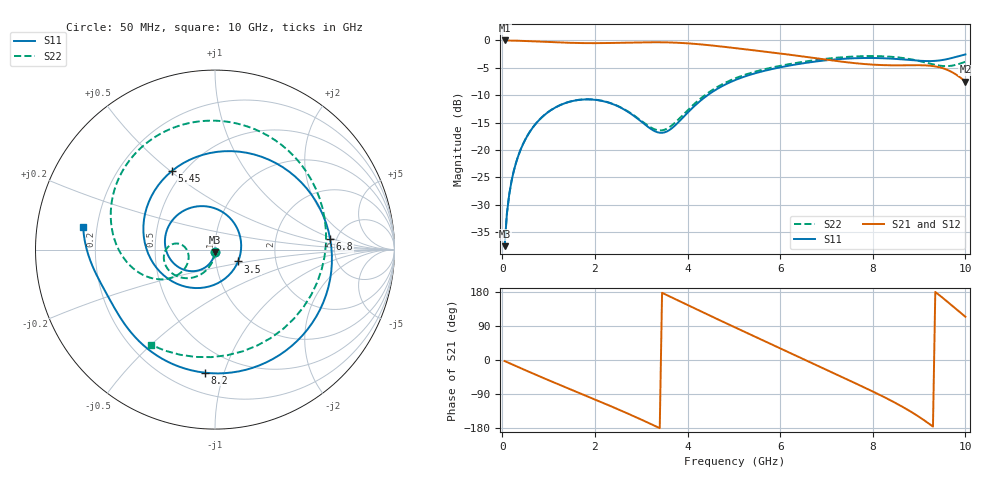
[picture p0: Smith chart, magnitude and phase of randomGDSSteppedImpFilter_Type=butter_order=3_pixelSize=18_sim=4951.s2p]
! freq	dB(S11)	phase(S11)	dB(S12)	phase(S12)
!  dB(S21)	phase(S21)	dB(S22)	phase(S22)
!S-par simulation data
#  GHz  S  DB  R 50
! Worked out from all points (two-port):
!   200 points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, 50 MHz to 10 GHz, reference 50 ohm
!   highest |S21| = -0.01 dB at 50 MHz (marker M1); lowest = -7.5 dB at 10 GHz (marker M2)
!   |S21| within 3 dB of the highest: start of sweep to 6.559 GHz
!   lowest |S11| = -37.6 dB at 50 MHz (marker M3), VSWR 1.03, Z = 49.9 - j1.32 ohm
!   |S11| at or under -10 dB: start of sweep to 4.434 GHz
!   |S22| runs from -37.6 to -2.9 dB; largest |S21 - S12| = 0
!   S11 on the Smith chart (normalised r, x): 50 MHz: 1.00, -0.03; 3.5 GHz: 1.28, -0.17; 5.45 GHz: 0.43, +0.51; 6.8 GHz: 4.44, +0.89; 8.2 GHz: 0.33, -0.86; 10 GHz: 0.15, +0.08
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0.05  -37.57 -92.6  -0.01 -2.8  -0.01 -2.8  -37.57 -91.7
0.1  -31.59 -96.2  -0.01 -5.5  -0.01 -5.5  -31.57 -94.4
0.2  -25.66 -102.9  -0.03 -10.9  -0.03 -10.9  -25.65 -99.3
0.5  -18.05 -122.0  -0.10 -27.0  -0.10 -27.0  -18.03 -113.0
1.15  -12.23 -162.6  -0.34 -61.1  -0.34 -61.1  -12.21 -140.7
1.75  -10.79 159.2  -0.49 -91.5  -0.49 -91.5  -10.77 -163.4
2.55  -12.24 100.3  -0.43 -132.8  -0.43 -132.8  -12.19 173.7
3.4  -16.86 -8.7  -0.33 -179.8  -0.33 -179.8  -16.44 -170.6
3.5  -16.80 -27.1  -0.35 174.4  -0.35 174.4  -16.32 -164.1
4.25  -11.22 -133.4  -0.70 130.7  -0.70 130.7  -10.84 -147.0
5.05  -7.17 152.7  -1.42 84.7  -1.42 84.7  -6.86 -164.9
5.45  -6.02 118.5  -1.82 62.0  -1.82 62.0  -5.73 -175.9
6.05  -4.83 67.5  -2.44 27.9  -2.44 27.9  -4.56 167.2
6.7  -3.93 13.3  -3.17 -9.1  -3.17 -9.1  -3.66 147.7
6.8  -3.82 5.2  -3.29 -14.7  -3.29 -14.7  -3.55 144.5
7.55  -3.27 -51.6  -4.10 -57.2  -4.10 -57.2  -2.96 117.2
8.2  -3.25 -94.9  -4.50 -95.1  -4.50 -95.1  -2.89 86.6
8.35  -3.30 -104.1  -4.54 -104.4  -4.54 -104.4  -2.96 77.9
8.8  -3.57 -129.8  -4.53 -134.7  -4.53 -134.7  -3.41 45.3
9.25  -3.77 -151.8  -4.63 -171.2  -4.63 -171.2  -4.27 -3.6
9.65  -3.33 -170.1  -5.53 149.9  -5.53 149.9  -4.67 -66.3
10  -2.56 170.5  -7.51 114.1  -7.51 114.1  -3.89 -123.9
